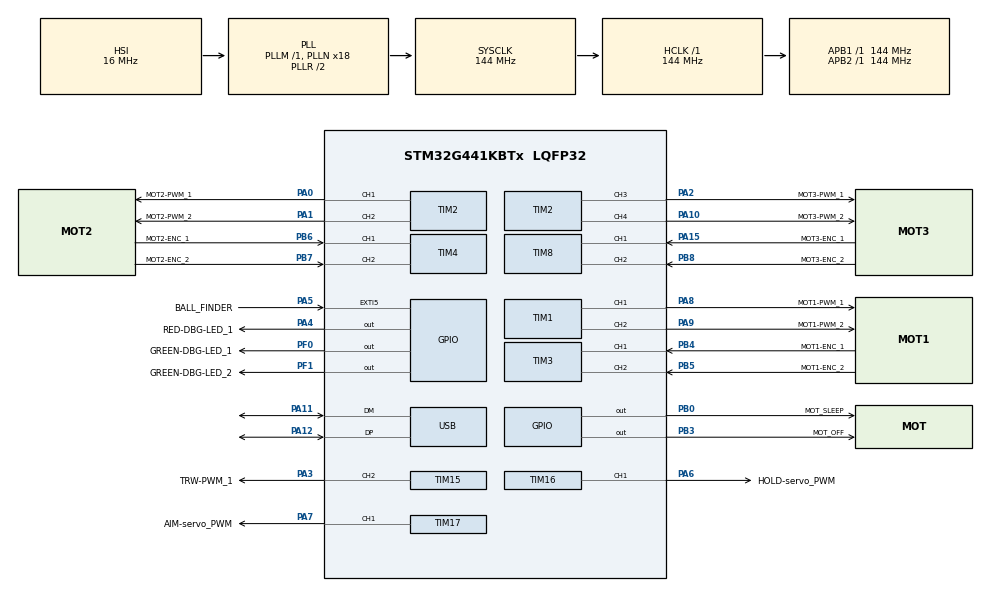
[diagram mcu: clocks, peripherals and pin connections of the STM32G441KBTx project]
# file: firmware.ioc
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ADC1.Channel-0\#ChannelRegularConversion=ADC_CHANNEL_TEMPSENSOR_ADC1
ADC1.NbrOfConversionFlag=1
ADC1.OffsetNumber-0\#ChannelRegularConversion=ADC_OFFSET_NONE
ADC1.Rank-0\#ChannelRegularConversion=1
ADC1.SamplingTime-0\#ChannelRegularConversion=ADC_SAMPLETIME_2CYCLES_5
ADC1.master=1
Dma.ADC1.0.Direction=DMA_PERIPH_TO_MEMORY
Dma.ADC1.0.EventEnable=DISABLE
Dma.ADC1.0.Instance=DMA1_Channel1
Dma.ADC1.0.MemDataAlignment=DMA_MDATAALIGN_BYTE
Dma.ADC1.0.MemInc=DMA_MINC_ENABLE
Dma.ADC1.0.Mode=DMA_CIRCULAR
Dma.ADC1.0.PeriphDataAlignment=DMA_PDATAALIGN_HALFWORD
Dma.ADC1.0.PeriphInc=DMA_PINC_DISABLE
Dma.ADC1.0.Polarity=HAL_DMAMUX_REQ_GEN_RISING
Dma.ADC1.0.Priority=DMA_PRIORITY_VERY_HIGH
Dma.ADC1.0.RequestNumber=1
Dma.ADC1.0.SignalID=NONE
Dma.ADC1.0.SyncEnable=DISABLE
Dma.ADC1.0.SyncPolarity=HAL_DMAMUX_SYNC_NO_EVENT
Dma.ADC1.0.SyncRequestNumber=1
Dma.ADC1.0.SyncSignalID=NONE
Dma.Request0=ADC1
Mcu.Family=STM32G4
Mcu.Name=STM32G441KBTx
Mcu.Package=LQFP32
NVIC.DMA1_Channel1_IRQn=true\:0\:0\:false\:false\:true\:false\:true
NVIC.EXTI9_5_IRQn=true\:0\:0\:false\:false\:true\:true\:true
NVIC.PriorityGroup=NVIC_PRIORITYGROUP_4
NVIC.TIM6_DAC_IRQn=true\:0\:0\:false\:false\:true\:true\:true
NVIC.USB_LP_IRQn=true\:0\:0\:false\:false\:true\:false\:true
PA0.GPIO_Label=MOT2-PWM_1
PA0.Signal=S_TIM2_CH1
PA1.GPIO_Label=MOT2-PWM_2
PA1.Signal=S_TIM2_CH2
PA10.GPIO_Label=MOT3-PWM_2
PA10.Signal=S_TIM2_CH4
PA11.Mode=Device
PA11.Signal=USB_DM
PA12.Mode=Device
PA12.Signal=USB_DP
PA13.Mode=Serial_Wire
PA13.Signal=SYS_JTMS-SWDIO
PA14.Mode=Serial_Wire
PA14.Signal=SYS_JTCK-SWCLK
PA15.GPIO_Label=MOT3-ENC_1
PA15.Signal=S_TIM8_CH1
PA2.GPIO_Label=MOT3-PWM_1
PA2.Signal=S_TIM2_CH3
PA3.GPIO_Label=TRW-PWM_1
PA3.Signal=S_TIM15_CH2
PA4.GPIO_Label=RED-DBG-LED_1
PA4.Signal=GPIO_Output
PA5.GPIO_Label=BALL_FINDER
PA5.Signal=GPXTI5
PA6.GPIO_Label=HOLD-servo_PWM
PA6.Signal=S_TIM16_CH1
PA7.GPIO_Label=AIM-servo_PWM
PA7.Signal=S_TIM17_CH1
PA8.GPIO_Label=MOT1-PWM_1
PA8.Signal=S_TIM1_CH1
PA9.GPIO_Label=MOT1-PWM_2
PA9.Signal=S_TIM1_CH2
PB0.GPIO_Label=MOT_SLEEP
PB0.Signal=GPIO_Output
PB3.GPIO_Label=MOT_OFF
PB3.Signal=GPIO_Output
PB4.GPIO_Label=MOT1-ENC_1
PB4.Signal=S_TIM3_CH1
PB5.GPIO_Label=MOT1-ENC_2
PB5.Signal=S_TIM3_CH2
PB6.GPIO_Label=MOT2-ENC_1
PB6.Signal=S_TIM4_CH1
PB7.GPIO_Label=MOT2-ENC_2
PB7.Signal=S_TIM4_CH2
PB8-BOOT0.GPIO_Label=MOT3-ENC_2
PB8-BOOT0.Signal=S_TIM8_CH2
PF0-OSC_IN.GPIO_Label=GREEN-DBG-LED_1
PF0-OSC_IN.Signal=GPIO_Output
PF1-OSC_OUT.GPIO_Label=GREEN-DBG-LED_2
PF1-OSC_OUT.Signal=GPIO_Output
ProjectManager.HeapSize=0x200
ProjectManager.StackSize=0x400
ProjectManager.TargetToolchain=STM32CubeIDE
RCC.ADC12Freq_Value=144000000
RCC.AHBFreq_Value=144000000
RCC.APB1Freq_Value=144000000
RCC.APB1TimFreq_Value=144000000
RCC.APB2Freq_Value=144000000
RCC.APB2TimFreq_Value=144000000
RCC.CortexFreq_Value=144000000
RCC.EXTERNAL_CLOCK_VALUE=12288000
RCC.HCLKFreq_Value=144000000
RCC.HSE_VALUE=8000000
RCC.HSI48_VALUE=48000000
RCC.HSI_VALUE=16000000
RCC.LSE_VALUE=32768
RCC.PLLN=18
RCC.PLLQ=RCC_PLLQ_DIV6
RCC.SYSCLKFreq_VALUE=144000000
RCC.SYSCLKSource=RCC_SYSCLKSOURCE_PLLCLK
RCC.USBFreq_Value=48000000
RCC.VCOOutputFreq_Value=288000000
SH.S_TIM15_CH2.0=TIM15_CH2,PWM Generation2 CH2
SH.S_TIM16_CH1.0=TIM16_CH1,PWM Generation1 CH1
SH.S_TIM17_CH1.0=TIM17_CH1,PWM Generation1 CH1
SH.S_TIM1_CH1.0=TIM1_CH1,PWM Generation1 CH1
SH.S_TIM1_CH2.0=TIM1_CH2,PWM Generation2 CH2
SH.S_TIM2_CH1.0=TIM2_CH1,PWM Generation1 CH1
SH.S_TIM2_CH2.0=TIM2_CH2,PWM Generation2 CH2
SH.S_TIM2_CH3.0=TIM2_CH3,PWM Generation3 CH3
SH.S_TIM2_CH4.0=TIM2_CH4,PWM Generation4 CH4
SH.S_TIM3_CH1.0=TIM3_CH1,Encoder_Interface
SH.S_TIM3_CH2.0=TIM3_CH2,Encoder_Interface
SH.S_TIM4_CH1.0=TIM4_CH1,Encoder_Interface
SH.S_TIM4_CH2.0=TIM4_CH2,Encoder_Interface
SH.S_TIM8_CH1.0=TIM8_CH1,Encoder_Interface
SH.S_TIM8_CH2.0=TIM8_CH2,Encoder_Interface
TIM1.Channel-PWM\ Generation1\ CH1=TIM_CHANNEL_1
TIM1.Channel-PWM\ Generation2\ CH2=TIM_CHANNEL_2
TIM15.Channel-PWM\ Generation2\ CH2=TIM_CHANNEL_2
TIM15.Prescaler=45
TIM16.Channel=TIM_CHANNEL_1
TIM16.Prescaler=45
TIM17.Channel=TIM_CHANNEL_1
TIM17.Prescaler=45
TIM2.Channel-PWM\ Generation1\ CH1=TIM_CHANNEL_1
TIM2.Channel-PWM\ Generation2\ CH2=TIM_CHANNEL_2
TIM2.Channel-PWM\ Generation3\ CH3=TIM_CHANNEL_3
TIM2.Channel-PWM\ Generation4\ CH4=TIM_CHANNEL_4
TIM6.Prescaler=20
TIM6.TIM_MasterOutputTrigger=TIM_TRGO_UPDATE
USB_DEVICE.CLASS_NAME_FS=CDC
USB_DEVICE.VirtualMode=Cdc
USB_DEVICE.VirtualModeFS=Cdc_FS
VP_ADC1_TempSens_Input.Mode=IN-TempSens
VP_ADC1_Vref_Input.Mode=IN-Vrefint
VP_CRC_VS_CRC.Mode=CRC_Activate
VP_RTC_VS_RTC_Activate.Mode=RTC_Enabled
VP_SYS_VS_DBSignals.Mode=DisableDeadBatterySignals
VP_TIM16_VS_ClockSourceINT.Mode=Enable_Timer
VP_TIM17_VS_ClockSourceINT.Mode=Enable_Timer
VP_TIM1_VS_ClockSourceINT.Mode=Internal
VP_TIM2_VS_ClockSourceINT.Mode=Internal
VP_TIM6_VS_ClockSourceINT.Mode=Enable_Timer
VP_USB_DEVICE_VS_USB_DEVICE_CDC_FS.Mode=CDC_FS
board=custom

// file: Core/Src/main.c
/* USER CODE BEGIN Header */
/**
  ******************************************************************************
  * @file           : main.c
  * @brief          : Main program body
  ******************************************************************************
  * @attention
  *
  * <h2><center>&copy; Copyright (c) 2021 STMicroelectronics.
  * All rights reserved.</center></h2>
  *
  * This software component is licensed by ST under BSD 3-Clause license,
  * the "License"; You may not use this file except in compliance with the
  * License. You may obtain a copy of the License at:
  *                        opensource.org/licenses/BSD-3-Clause
  *
  *
  ******************************************************************************
  */
/* USER CODE END Header */
#include "main.h"
#include "usb_device.h"

/* USER CODE BEGIN Includes */
#include "usbd_cdc_if.h"
/* USER CODE END Includes */

ADC_HandleTypeDef hadc1;
DMA_HandleTypeDef hdma_adc1;

CRC_HandleTypeDef hcrc;

RTC_HandleTypeDef hrtc;

TIM_HandleTypeDef htim1;
TIM_HandleTypeDef htim2;
TIM_HandleTypeDef htim3;
TIM_HandleTypeDef htim4;
TIM_HandleTypeDef htim6;
TIM_HandleTypeDef htim8;
TIM_HandleTypeDef htim15;
TIM_HandleTypeDef htim16;
TIM_HandleTypeDef htim17;

void SystemClock_Config(void);
static void MX_GPIO_Init(void);
static void MX_TIM1_Init(void);
static void MX_RTC_Init(void);
static void MX_TIM2_Init(void);
static void MX_TIM3_Init(void);
static void MX_TIM8_Init(void);
static void MX_TIM17_Init(void);
static void MX_TIM16_Init(void);
static void MX_TIM4_Init(void);
static void MX_TIM15_Init(void);
static void MX_DMA_Init(void);
static void MX_ADC1_Init(void);
static void MX_CRC_Init(void);
static void MX_TIM6_Init(void);

/* USER CODE BEGIN 0 */

/**
 * Motor status struct
 */
typedef struct {
  float target_speed;  ///< Current motor target speed
  uint8_t forward;        ///< 0 means backwards, 1 is forwards
  float integral;       ///< Integral value for PID
  int16_t pos;            ///< Current encoder position
  float flat_const;       ///< PID constant for current error
  float int_const;        ///< PID constant for integral
  float deriv_const;      ///< PID constant for derivative
} mot_status_t;

/**
 * List of possible errors that are sent to master
 */
typedef enum {
  MCU_OK,                 ///< Everythings good
  MCU_USB_BAD_DATA,       ///< Got bad data from USB, eg. CRC mismatch
  MCU_SPEED_TOO_HIGH      ///< Got too high speed from master
} mcu_errors_t;

/**
 * Incoming command struct
 */
typedef struct {
  int16_t speeds[3];      ///< Incoming target speed array
  uint16_t thrower_speed; ///< Incoming thrower target speed
  uint16_t aim_pwm;       ///< Aim servo PWM value
  uint16_t hold_pwm;      ///< Hold servo PWM value
  uint16_t command;       ///< Other commands eg. 3 LSB direct motors
  uint16_t crc;           ///< CRC for error detection
} ser_command_t;

/**
 * Serial feedback struct
 */
typedef struct {
  mcu_errors_t error;     ///< If and what error has occured
  int32_t enc_data[3];    ///< Encoder data
  uint16_t varia;         ///< Other variable data eh. ball was detected
  uint16_t crc;           ///< CRC for error detection
} ser_feedback_t;

ser_command_t cmd_in = {0};
mot_status_t motor_status[3] = {0};
__IO uint8_t is_command_received = 0;
mcu_errors_t mcu_error;
uint8_t feedback_needed = 0;
ser_feedback_t ser_feedback = {0};

/**
 * Mapping function to get a value from one range to other
 */
uint16_t map(float input, int32_t f_l, int32_t f_h, int32_t t_l, int32_t t_h) {
  return ((input - f_l) * (t_h - t_l)) / ((f_h - f_l) + t_l);
}

float f_map(uint16_t input, int32_t f_l, int32_t f_h, int32_t t_l, int32_t t_h) {
  return (float) ((float) (input - f_l) * (t_h - t_l)) / ((f_h - f_l) + t_l);
}

/**
 * Function that gets called when new USB data arrives
 *
 * Updates cmd_in structure and so updates target speeds
 */
void CDC_On_Receive(uint8_t* buffer, uint32_t* length) {
  is_command_received = 1;
  mcu_error = MCU_USB_BAD_DATA;
  if (*length == sizeof(ser_command_t)) {
	  ser_command_t ser_data;
	  memcpy(&ser_data, buffer, sizeof(ser_command_t));
	  uint16_t got_crc = ser_data.crc;
	  ser_data.crc = 0;
	  uint16_t calculated_crc = HAL_CRC_Calculate(&hcrc, (uint32_t *) &ser_data, (*length));
    if(got_crc == calculated_crc) {
    	memcpy(&cmd_in, buffer, sizeof(ser_command_t));
    	cmd_in.thrower_speed = map(cmd_in.thrower_speed, 0, 65535, 3120, 6240);
    	mcu_error = MCU_OK;
    }
  }
}

/**
 * Fills feedback struct to be sent to master
 */
void generate_feedback() {
  ser_feedback.error = mcu_error;
  ser_feedback.enc_data[0] = motor_status[0].pos;
  ser_feedback.enc_data[1] = motor_status[1].pos;
  ser_feedback.enc_data[2] = motor_status[2].pos;
  ser_feedback.crc = 0;
  ser_feedback.crc = HAL_CRC_Calculate(&hcrc, (uint32_t *) &ser_feedback, sizeof(ser_feedback_t));
}

/**
 * Initialises HAL TIM PWM and
 * sets their max limits to 0xFFFF* to make sure it will not get counted to 0xFFFFFFFF
 */
void init_pwm() {
  TIM1->ARR = 0xFFFF;
  TIM2->ARR = 0xFFFF;

  // Motor 1
  HAL_TIM_PWM_Start(&htim1, TIM_CHANNEL_1);
  HAL_TIM_PWM_Start(&htim1, TIM_CHANNEL_2);

  // Motor 2
  HAL_TIM_PWM_Start(&htim2, TIM_CHANNEL_1);
  HAL_TIM_PWM_Start(&htim2, TIM_CHANNEL_2);

  // Motor 3
  HAL_TIM_PWM_Start(&htim2, TIM_CHANNEL_3);
  HAL_TIM_PWM_Start(&htim2, TIM_CHANNEL_4);

  // Thrower
  HAL_TIM_PWM_Start(&htim15, TIM_CHANNEL_2);

  // Hold servo
  HAL_TIM_PWM_Start(&htim16, TIM_CHANNEL_1);

  // Aim servo
  HAL_TIM_PWM_Start(&htim17, TIM_CHANNEL_1);
}

/**
 * Function for manually setting PID constants for each motor
 */
void set_pid_constants() {
	motor_status[0].flat_const = 5;
	motor_status[0].int_const = 0.1;
	motor_status[0].deriv_const = 0;

	motor_status[1].flat_const = 5;
	motor_status[1].int_const = 0.1;
	motor_status[1].deriv_const = 0;

	motor_status[2].flat_const = 5;
	motor_status[2].int_const = 0.1;
	motor_status[2].deriv_const = 0;
}

/**
 * Wakes drivers up by sending an nSleep pulse
 */
void wake_drivers_up() {
    HAL_GPIO_WritePin(GPIOB, MOT_SLEEP_Pin, GPIO_PIN_RESET);
    for(uint16_t i = 0; i < 350; i++) __asm("nop");
	HAL_GPIO_WritePin(GPIOB, MOT_SLEEP_Pin, GPIO_PIN_SET);
	for(uint16_t i = 0; i < 10; i++) __asm("nop");
}

/**
 * Starts TIM encoders
 */
void start_encoders() {
  HAL_TIM_Encoder_Start(&htim3, TIM_CHANNEL_1 | TIM_CHANNEL_2);
  HAL_TIM_Encoder_Start(&htim4, TIM_CHANNEL_1 | TIM_CHANNEL_2);
  HAL_TIM_Encoder_Start(&htim8, TIM_CHANNEL_1 | TIM_CHANNEL_2);
}

void arm_thrower() {
	TIM15->CCR2 = 3120;
	HAL_Delay(500);
	TIM15->CCR2 = 2000;
	HAL_Delay(1500);
	TIM15->CCR2 = 3120;
}

/**
 * Called when new command arrives from master
 *
 * Reads the command byte and updates target speed
 */
void update_motor_status() {
  for(uint8_t i = 0; i < 3; i++) {
	if(cmd_in.command & (1 << i))
	  motor_status[i].forward = 1;
	else
	  motor_status[i].forward = 0;
	motor_status[i].target_speed = f_map(cmd_in.speeds[i], 0, 65535, 0, 106);
  }
  if(cmd_in.command & (1 << 4)) {
	arm_thrower();
	wake_drivers_up();
  }
  TIM15->CCR2 = cmd_in.thrower_speed + 3120;
  TIM16->CCR1 = cmd_in.hold_pwm;
  TIM17->CCR1 = cmd_in.aim_pwm;
}

/**
 * Calculates PWM speed that will be sent to the motors
 * Takes motor id as input through which it can calculate error and get needed data
 *
 * Returns a value between 0 and 2^16 - 1
 */
int16_t calc_pwm(uint8_t mot_id) {
  int16_t change;
  float pid_speed, error;

  // Calculate change and update corresponding motor position
  switch(mot_id) {
    case(0):
	  change = TIM3->CNT - motor_status[0].pos;
      motor_status[0].pos = TIM3->CNT;
      break;
    case(1):
      change = TIM4->CNT - motor_status[1].pos;
      motor_status[1].pos = TIM4->CNT;
      break;
    case(2):
      change = TIM8->CNT - motor_status[2].pos;
      motor_status[2].pos = TIM8->CNT;
  }
  if(change < 0)
	change *= -1;
  if(change > 106)
	change = 106;

  // Calculate error and PID
  error = motor_status[mot_id].target_speed - change;
  motor_status[mot_id].integral += error;
  pid_speed = error * motor_status[mot_id].flat_const +
		  motor_status[mot_id].integral * motor_status[mot_id].int_const;

  // Keep the motor speed within limits
  if(pid_speed > 106)
	pid_speed = 106;
  else if(pid_speed < 0)
	pid_speed = 0;

  // Map the encoder speed to PWM speed and return it
  return map(pid_speed, 0, 106, 0, 65535);
}

/**
 * Function that gets called periodically by timer interrupt
 *
 * Used for calculating and correcting PWM values for each motor
 */
void HAL_TIM_PeriodElapsedCallback(TIM_HandleTypeDef *htim) {

  HAL_GPIO_TogglePin(GPIOF, GREEN_DBG_LED_1_Pin);
  TIM1->CCR1 = calc_pwm(0);
  TIM2->CCR1 = calc_pwm(1);
  TIM2->CCR3 = calc_pwm(2);

  if(!motor_status[0].forward) {
	TIM1->CCR2 = 0;
  } else {
	TIM1->CCR2 = 65535;
	  }
  if(!motor_status[1].forward) {
	TIM2->CCR2 = 0;
  } else {
	TIM2->CCR2 = 65535;
  }
  if(!motor_status[2].forward) {
	TIM2->CCR4 = 0;
  } else {
	TIM2->CCR4 = 65535;
  }
}

/*
 * EXTI callback for ball detector
 */
void HAL_GPIO_EXTI_Callback(uint16_t GPIO_Pin) {
  if(GPIO_Pin == GPIO_PIN_5) {
	HAL_GPIO_TogglePin(RED_DBG_LED_1_GPIO_Port, RED_DBG_LED_1_Pin);
	ser_feedback.varia = 0xFFFF;
	feedback_needed = 1;
  }
}

/* USER CODE END 0 */

int main(void)
{

  /* MCU Configuration--------------------------------------------------------*/

  /* Reset of all peripherals, Initializes the Flash interface and the Systick. */
  HAL_Init();

  /* Configure the system clock */
  SystemClock_Config();

  /* Initialize all configured peripherals */
  MX_GPIO_Init();
  MX_TIM1_Init();
  MX_RTC_Init();
  MX_TIM2_Init();
  MX_TIM3_Init();
  MX_TIM8_Init();
  MX_TIM17_Init();
  MX_TIM16_Init();
  MX_TIM4_Init();
  MX_TIM15_Init();
  MX_USB_Device_Init();
  MX_DMA_Init();
  MX_ADC1_Init();
  MX_CRC_Init();
  MX_TIM6_Init();
  /* USER CODE BEGIN 2 */
  HAL_TIM_Base_Start_IT(&htim6);
  HAL_GPIO_WritePin(GPIOB, MOT_SLEEP_Pin, GPIO_PIN_SET);
  set_pid_constants();
  HAL_Delay(100);
  start_encoders();
  wake_drivers_up();
  init_pwm();
  TIM15->CCR2 = 3120;

  /* USER CODE END 2 */

  /* Infinite loop */
  /* USER CODE BEGIN WHILE */
  while (1) {
	if(is_command_received) {
	  is_command_received = 0;
	  if(!mcu_error) {
		HAL_GPIO_TogglePin(GPIOF, GREEN_DBG_LED_2_Pin);
		update_motor_status();
	  }
	  feedback_needed = 1;
	}
	if(feedback_needed) {
      generate_feedback();
	  CDC_Transmit_FS((uint8_t*) &ser_feedback, sizeof(ser_feedback_t));
	  feedback_needed = 0;
	  ser_feedback.varia = 0;
	}
    /* USER CODE END WHILE */

  }
}

void SystemClock_Config(void)
{
  RCC_OscInitTypeDef RCC_OscInitStruct = {0};
  RCC_ClkInitTypeDef RCC_ClkInitStruct = {0};

  /** Configure the main internal regulator output voltage
  */
  HAL_PWREx_ControlVoltageScaling(PWR_REGULATOR_VOLTAGE_SCALE1);
  /** Initializes the RCC Oscillators according to the specified parameters
  * in the RCC_OscInitTypeDef structure.
  */
  RCC_OscInitStruct.OscillatorType = RCC_OSCILLATORTYPE_HSI|RCC_OSCILLATORTYPE_LSI;
  RCC_OscInitStruct.HSIState = RCC_HSI_ON;
  RCC_OscInitStruct.HSICalibrationValue = RCC_HSICALIBRATION_DEFAULT;
  RCC_OscInitStruct.LSIState = RCC_LSI_ON;
  RCC_OscInitStruct.PLL.PLLState = RCC_PLL_ON;
  RCC_OscInitStruct.PLL.PLLSource = RCC_PLLSOURCE_HSI;
  RCC_OscInitStruct.PLL.PLLM = RCC_PLLM_DIV1;
  RCC_OscInitStruct.PLL.PLLN = 18;
  RCC_OscInitStruct.PLL.PLLP = RCC_PLLP_DIV2;
  RCC_OscInitStruct.PLL.PLLQ = RCC_PLLQ_DIV6;
  RCC_OscInitStruct.PLL.PLLR = RCC_PLLR_DIV2;
  if (HAL_RCC_OscConfig(&RCC_OscInitStruct) != HAL_OK)
  {
    Error_Handler();
  }
  /** Initializes the CPU, AHB and APB buses clocks
  */
  RCC_ClkInitStruct.ClockType = RCC_CLOCKTYPE_HCLK|RCC_CLOCKTYPE_SYSCLK
                              |RCC_CLOCKTYPE_PCLK1|RCC_CLOCKTYPE_PCLK2;
  RCC_ClkInitStruct.SYSCLKSource = RCC_SYSCLKSOURCE_PLLCLK;
  RCC_ClkInitStruct.AHBCLKDivider = RCC_SYSCLK_DIV1;
  RCC_ClkInitStruct.APB1CLKDivider = RCC_HCLK_DIV1;
  RCC_ClkInitStruct.APB2CLKDivider = RCC_HCLK_DIV1;

  if (HAL_RCC_ClockConfig(&RCC_ClkInitStruct, FLASH_LATENCY_4) != HAL_OK)
  {
    Error_Handler();
  }
}

static void MX_ADC1_Init(void)
{

  ADC_MultiModeTypeDef multimode = {0};
  ADC_ChannelConfTypeDef sConfig = {0};

  /** Common config
  */
  hadc1.Instance = ADC1;
  hadc1.Init.ClockPrescaler = ADC_CLOCK_SYNC_PCLK_DIV4;
  hadc1.Init.Resolution = ADC_RESOLUTION_12B;
  hadc1.Init.DataAlign = ADC_DATAALIGN_RIGHT;
  hadc1.Init.GainCompensation = 0;
  hadc1.Init.ScanConvMode = ADC_SCAN_DISABLE;
  hadc1.Init.EOCSelection = ADC_EOC_SINGLE_CONV;
  hadc1.Init.LowPowerAutoWait = DISABLE;
  hadc1.Init.ContinuousConvMode = DISABLE;
  hadc1.Init.NbrOfConversion = 1;
  hadc1.Init.DiscontinuousConvMode = DISABLE;
  hadc1.Init.ExternalTrigConv = ADC_SOFTWARE_START;
  hadc1.Init.ExternalTrigConvEdge = ADC_EXTERNALTRIGCONVEDGE_NONE;
  hadc1.Init.DMAContinuousRequests = DISABLE;
  hadc1.Init.Overrun = ADC_OVR_DATA_PRESERVED;
  hadc1.Init.OversamplingMode = DISABLE;
  if (HAL_ADC_Init(&hadc1) != HAL_OK)
  {
    Error_Handler();
  }
  /** Configure the ADC multi-mode
  */
  multimode.Mode = ADC_MODE_INDEPENDENT;
  if (HAL_ADCEx_MultiModeConfigChannel(&hadc1, &multimode) != HAL_OK)
  {
    Error_Handler();
  }
  /** Configure Regular Channel
  */
  sConfig.Channel = ADC_CHANNEL_TEMPSENSOR_ADC1;
  sConfig.Rank = ADC_REGULAR_RANK_1;
  sConfig.SamplingTime = ADC_SAMPLETIME_2CYCLES_5;
  sConfig.SingleDiff = ADC_SINGLE_ENDED;
  sConfig.OffsetNumber = ADC_OFFSET_NONE;
  sConfig.Offset = 0;
  if (HAL_ADC_ConfigChannel(&hadc1, &sConfig) != HAL_OK)
  {
    Error_Handler();
  }

}

static void MX_CRC_Init(void)
{

  hcrc.Instance = CRC;
  hcrc.Init.DefaultPolynomialUse = DEFAULT_POLYNOMIAL_ENABLE;
  hcrc.Init.DefaultInitValueUse = DEFAULT_INIT_VALUE_ENABLE;
  hcrc.Init.InputDataInversionMode = CRC_INPUTDATA_INVERSION_NONE;
  hcrc.Init.OutputDataInversionMode = CRC_OUTPUTDATA_INVERSION_DISABLE;
  hcrc.InputDataFormat = CRC_INPUTDATA_FORMAT_BYTES;
  if (HAL_CRC_Init(&hcrc) != HAL_OK)
  {
    Error_Handler();
  }

}

static void MX_RTC_Init(void)
{

  /** Initialize RTC Only
  */
  hrtc.Instance = RTC;
  hrtc.Init.HourFormat = RTC_HOURFORMAT_24;
  hrtc.Init.AsynchPrediv = 127;
  hrtc.Init.SynchPrediv = 255;
  hrtc.Init.OutPut = RTC_OUTPUT_DISABLE;
  hrtc.Init.OutPutRemap = RTC_OUTPUT_REMAP_NONE;
  hrtc.Init.OutPutPolarity = RTC_OUTPUT_POLARITY_HIGH;
  hrtc.Init.OutPutType = RTC_OUTPUT_TYPE_OPENDRAIN;
  hrtc.Init.OutPutPullUp = RTC_OUTPUT_PULLUP_NONE;
  if (HAL_RTC_Init(&hrtc) != HAL_OK)
  {
    Error_Handler();
  }

}

static void MX_TIM1_Init(void)
{

  TIM_ClockConfigTypeDef sClockSourceConfig = {0};
  TIM_MasterConfigTypeDef sMasterConfig = {0};
  TIM_OC_InitTypeDef sConfigOC = {0};
  TIM_BreakDeadTimeConfigTypeDef sBreakDeadTimeConfig = {0};

  htim1.Instance = TIM1;
  htim1.Init.Prescaler = 0;
  htim1.Init.CounterMode = TIM_COUNTERMODE_UP;
  htim1.Init.Period = 65535;
  htim1.Init.ClockDivision = TIM_CLOCKDIVISION_DIV1;
  htim1.Init.RepetitionCounter = 0;
  htim1.Init.AutoReloadPreload = TIM_AUTORELOAD_PRELOAD_DISABLE;
  if (HAL_TIM_Base_Init(&htim1) != HAL_OK)
  {
    Error_Handler();
  }
  sClockSourceConfig.ClockSource = TIM_CLOCKSOURCE_INTERNAL;
  if (HAL_TIM_ConfigClockSource(&htim1, &sClockSourceConfig) != HAL_OK)
  {
    Error_Handler();
  }
  if (HAL_TIM_PWM_Init(&htim1) != HAL_OK)
  {
    Error_Handler();
  }
  sMasterConfig.MasterOutputTrigger = TIM_TRGO_RESET;
  sMasterConfig.MasterOutputTrigger2 = TIM_TRGO2_RESET;
  sMasterConfig.MasterSlaveMode = TIM_MASTERSLAVEMODE_DISABLE;
  if (HAL_TIMEx_MasterConfigSynchronization(&htim1, &sMasterConfig) != HAL_OK)
  {
    Error_Handler();
  }
  sConfigOC.OCMode = TIM_OCMODE_PWM1;
  sConfigOC.Pulse = 0;
  sConfigOC.OCPolarity = TIM_OCPOLARITY_HIGH;
  sConfigOC.OCNPolarity = TIM_OCNPOLARITY_HIGH;
  sConfigOC.OCFastMode = TIM_OCFAST_DISABLE;
  sConfigOC.OCIdleState = TIM_OCIDLESTATE_RESET;
  sConfigOC.OCNIdleState = TIM_OCNIDLESTATE_RESET;
  if (HAL_TIM_PWM_ConfigChannel(&htim1, &sConfigOC, TIM_CHANNEL_1) != HAL_OK)
  {
    Error_Handler();
  }
  if (HAL_TIM_PWM_ConfigChannel(&htim1, &sConfigOC, TIM_CHANNEL_2) != HAL_OK)
  {
    Error_Handler();
  }
  sBreakDeadTimeConfig.OffStateRunMode = TIM_OSSR_DISABLE;
  sBreakDeadTimeConfig.OffStateIDLEMode = TIM_OSSI_DISABLE;
  sBreakDeadTimeConfig.LockLevel = TIM_LOCKLEVEL_OFF;
  sBreakDeadTimeConfig.DeadTime = 0;
  sBreakDeadTimeConfig.BreakState = TIM_BREAK_DISABLE;
  sBreakDeadTimeConfig.BreakPolarity = TIM_BREAKPOLARITY_HIGH;
  sBreakDeadTimeConfig.BreakFilter = 0;
  sBreakDeadTimeConfig.BreakAFMode = TIM_BREAK_AFMODE_INPUT;
  sBreakDeadTimeConfig.Break2State = TIM_BREAK2_DISABLE;
  sBreakDeadTimeConfig.Break2Polarity = TIM_BREAK2POLARITY_HIGH;
  sBreakDeadTimeConfig.Break2Filter = 0;
  sBreakDeadTimeConfig.Break2AFMode = TIM_BREAK_AFMODE_INPUT;
  sBreakDeadTimeConfig.AutomaticOutput = TIM_AUTOMATICOUTPUT_DISABLE;
  if (HAL_TIMEx_ConfigBreakDeadTime(&htim1, &sBreakDeadTimeConfig) != HAL_OK)
  {
    Error_Handler();
  }
  HAL_TIM_MspPostInit(&htim1);

}

static void MX_TIM2_Init(void)
{

  TIM_ClockConfigTypeDef sClockSourceConfig = {0};
  TIM_MasterConfigTypeDef sMasterConfig = {0};
  TIM_OC_InitTypeDef sConfigOC = {0};

  htim2.Instance = TIM2;
  htim2.Init.Prescaler = 0;
  htim2.Init.CounterMode = TIM_COUNTERMODE_UP;
  htim2.Init.Period = 4.294967295E9;
  htim2.Init.ClockDivision = TIM_CLOCKDIVISION_DIV1;
  htim2.Init.AutoReloadPreload = TIM_AUTORELOAD_PRELOAD_DISABLE;
  if (HAL_TIM_Base_Init(&htim2) != HAL_OK)
  {
    Error_Handler();
  }
  sClockSourceConfig.ClockSource = TIM_CLOCKSOURCE_INTERNAL;
  if (HAL_TIM_ConfigClockSource(&htim2, &sClockSourceConfig) != HAL_OK)
  {
    Error_Handler();
  }
  if (HAL_TIM_PWM_Init(&htim2) != HAL_OK)
  {
    Error_Handler();
  }
  sMasterConfig.MasterOutputTrigger = TIM_TRGO_RESET;
  sMasterConfig.MasterSlaveMode = TIM_MASTERSLAVEMODE_DISABLE;
  if (HAL_TIMEx_MasterConfigSynchronization(&htim2, &sMasterConfig) != HAL_OK)
  {
    Error_Handler();
  }
  sConfigOC.OCMode = TIM_OCMODE_PWM1;
  sConfigOC.Pulse = 0;
  sConfigOC.OCPolarity = TIM_OCPOLARITY_HIGH;
  sConfigOC.OCFastMode = TIM_OCFAST_DISABLE;
  if (HAL_TIM_PWM_ConfigChannel(&htim2, &sConfigOC, TIM_CHANNEL_1) != HAL_OK)
  {
    Error_Handler();
  }
  if (HAL_TIM_PWM_ConfigChannel(&htim2, &sConfigOC, TIM_CHANNEL_2) != HAL_OK)
  {
    Error_Handler();
  }
  if (HAL_TIM_PWM_ConfigChannel(&htim2, &sConfigOC, TIM_CHANNEL_3) != HAL_OK)
  {
    Error_Handler();
  }
  if (HAL_TIM_PWM_ConfigChannel(&htim2, &sConfigOC, TIM_CHANNEL_4) != HAL_OK)
  {
    Error_Handler();
  }
  HAL_TIM_MspPostInit(&htim2);

}

static void MX_TIM3_Init(void)
{

  TIM_Encoder_InitTypeDef sConfig = {0};
  TIM_MasterConfigTypeDef sMasterConfig = {0};

  htim3.Instance = TIM3;
  htim3.Init.Prescaler = 0;
  htim3.Init.CounterMode = TIM_COUNTERMODE_UP;
  htim3.Init.Period = 65535;
  htim3.Init.ClockDivision = TIM_CLOCKDIVISION_DIV1;
  htim3.Init.AutoReloadPreload = TIM_AUTORELOAD_PRELOAD_DISABLE;
  sConfig.EncoderMode = TIM_ENCODERMODE_TI1;
  sConfig.IC1Polarity = TIM_ICPOLARITY_RISING;
  sConfig.IC1Selection = TIM_ICSELECTION_DIRECTTI;
  sConfig.IC1Prescaler = TIM_ICPSC_DIV1;
  sConfig.IC1Filter = 0;
  sConfig.IC2Polarity = TIM_ICPOLARITY_RISING;
  sConfig.IC2Selection = TIM_ICSELECTION_DIRECTTI;
  sConfig.IC2Prescaler = TIM_ICPSC_DIV1;
  sConfig.IC2Filter = 0;
  if (HAL_TIM_Encoder_Init(&htim3, &sConfig) != HAL_OK)
  {
    Error_Handler();
  }
  sMasterConfig.MasterOutputTrigger = TIM_TRGO_RESET;
  sMasterConfig.MasterSlaveMode = TIM_MASTERSLAVEMODE_DISABLE;
  if (HAL_TIMEx_MasterConfigSynchronization(&htim3, &sMasterConfig) != HAL_OK)
  {
    Error_Handler();
  }

}

static void MX_TIM4_Init(void)
{

  TIM_Encoder_InitTypeDef sConfig = {0};
  TIM_MasterConfigTypeDef sMasterConfig = {0};

  htim4.Instance = TIM4;
  htim4.Init.Prescaler = 0;
  htim4.Init.CounterMode = TIM_COUNTERMODE_UP;
  htim4.Init.Period = 65535;
  htim4.Init.ClockDivision = TIM_CLOCKDIVISION_DIV1;
  htim4.Init.AutoReloadPreload = TIM_AUTORELOAD_PRELOAD_DISABLE;
  sConfig.EncoderMode = TIM_ENCODERMODE_TI1;
  sConfig.IC1Polarity = TIM_ICPOLARITY_RISING;
  sConfig.IC1Selection = TIM_ICSELECTION_DIRECTTI;
  sConfig.IC1Prescaler = TIM_ICPSC_DIV1;
  sConfig.IC1Filter = 0;
  sConfig.IC2Polarity = TIM_ICPOLARITY_RISING;
  sConfig.IC2Selection = TIM_ICSELECTION_DIRECTTI;
  sConfig.IC2Prescaler = TIM_ICPSC_DIV1;
  sConfig.IC2Filter = 0;
  if (HAL_TIM_Encoder_Init(&htim4, &sConfig) != HAL_OK)
  {
    Error_Handler();
  }
  sMasterConfig.MasterOutputTrigger = TIM_TRGO_RESET;
  sMasterConfig.MasterSlaveMode = TIM_MASTERSLAVEMODE_DISABLE;
  if (HAL_TIMEx_MasterConfigSynchronization(&htim4, &sMasterConfig) != HAL_OK)
  {
    Error_Handler();
  }

}

static void MX_TIM6_Init(void)
{

  TIM_MasterConfigTypeDef sMasterConfig = {0};

  htim6.Instance = TIM6;
  htim6.Init.Prescaler = 20;
  htim6.Init.CounterMode = TIM_COUNTERMODE_UP;
  htim6.Init.Period = 65535;
  htim6.Init.AutoReloadPreload = TIM_AUTORELOAD_PRELOAD_DISABLE;
  if (HAL_TIM_Base_Init(&htim6) != HAL_OK)
  {
    Error_Handler();
  }
  sMasterConfig.MasterOutputTrigger = TIM_TRGO_UPDATE;
  sMasterConfig.MasterSlaveMode = TIM_MASTERSLAVEMODE_DISABLE;
  if (HAL_TIMEx_MasterConfigSynchronization(&htim6, &sMasterConfig) != HAL_OK)
  {
    Error_Handler();
  }

}

static void MX_TIM8_Init(void)
{

  TIM_Encoder_InitTypeDef sConfig = {0};
  TIM_MasterConfigTypeDef sMasterConfig = {0};

  htim8.Instance = TIM8;
  htim8.Init.Prescaler = 0;
  htim8.Init.CounterMode = TIM_COUNTERMODE_UP;
  htim8.Init.Period = 65535;
  htim8.Init.ClockDivision = TIM_CLOCKDIVISION_DIV1;
  htim8.Init.RepetitionCounter = 0;
  htim8.Init.AutoReloadPreload = TIM_AUTORELOAD_PRELOAD_DISABLE;
  sConfig.EncoderMode = TIM_ENCODERMODE_TI1;
  sConfig.IC1Polarity = TIM_ICPOLARITY_RISING;
  sConfig.IC1Selection = TIM_ICSELECTION_DIRECTTI;
  sConfig.IC1Prescaler = TIM_ICPSC_DIV1;
  sConfig.IC1Filter = 0;
  sConfig.IC2Polarity = TIM_ICPOLARITY_RISING;
  sConfig.IC2Selection = TIM_ICSELECTION_DIRECTTI;
  sConfig.IC2Prescaler = TIM_ICPSC_DIV1;
  sConfig.IC2Filter = 0;
  if (HAL_TIM_Encoder_Init(&htim8, &sConfig) != HAL_OK)
  {
    Error_Handler();
  }
  sMasterConfig.MasterOutputTrigger = TIM_TRGO_RESET;
  sMasterConfig.MasterOutputTrigger2 = TIM_TRGO2_RESET;
  sMasterConfig.MasterSlaveMode = TIM_MASTERSLAVEMODE_DISABLE;
  if (HAL_TIMEx_MasterConfigSynchronization(&htim8, &sMasterConfig) != HAL_OK)
  {
    Error_Handler();
  }

}

static void MX_TIM15_Init(void)
{

  TIM_MasterConfigTypeDef sMasterConfig = {0};
  TIM_OC_InitTypeDef sConfigOC = {0};
  TIM_BreakDeadTimeConfigTypeDef sBreakDeadTimeConfig = {0};

  htim15.Instance = TIM15;
  htim15.Init.Prescaler = 45;
  htim15.Init.CounterMode = TIM_COUNTERMODE_UP;
  htim15.Init.Period = 65535;
  htim15.Init.ClockDivision = TIM_CLOCKDIVISION_DIV1;
  htim15.Init.RepetitionCounter = 0;
  htim15.Init.AutoReloadPreload = TIM_AUTORELOAD_PRELOAD_DISABLE;
  if (HAL_TIM_PWM_Init(&htim15) != HAL_OK)
  {
    Error_Handler();
  }
  sMasterConfig.MasterOutputTrigger = TIM_TRGO_RESET;
  sMasterConfig.MasterSlaveMode = TIM_MASTERSLAVEMODE_DISABLE;
  if (HAL_TIMEx_MasterConfigSynchronization(&htim15, &sMasterConfig) != HAL_OK)
  {
    Error_Handler();
  }
  sConfigOC.OCMode = TIM_OCMODE_PWM1;
  sConfigOC.Pulse = 0;
  sConfigOC.OCPolarity = TIM_OCPOLARITY_HIGH;
  sConfigOC.OCNPolarity = TIM_OCNPOLARITY_HIGH;
  sConfigOC.OCFastMode = TIM_OCFAST_DISABLE;
  sConfigOC.OCIdleState = TIM_OCIDLESTATE_RESET;
  sConfigOC.OCNIdleState = TIM_OCNIDLESTATE_RESET;
  if (HAL_TIM_PWM_ConfigChannel(&htim15, &sConfigOC, TIM_CHANNEL_2) != HAL_OK)
  {
    Error_Handler();
  }
  sBreakDeadTimeConfig.OffStateRunMode = TIM_OSSR_DISABLE;
  sBreakDeadTimeConfig.OffStateIDLEMode = TIM_OSSI_DISABLE;
  sBreakDeadTimeConfig.LockLevel = TIM_LOCKLEVEL_OFF;
  sBreakDeadTimeConfig.DeadTime = 0;
  sBreakDeadTimeConfig.BreakState = TIM_BREAK_DISABLE;
  sBreakDeadTimeConfig.BreakPolarity = TIM_BREAKPOLARITY_HIGH;
  sBreakDeadTimeConfig.BreakFilter = 0;
  sBreakDeadTimeConfig.AutomaticOutput = TIM_AUTOMATICOUTPUT_DISABLE;
  if (HAL_TIMEx_ConfigBreakDeadTime(&htim15, &sBreakDeadTimeConfig) != HAL_OK)
  {
    Error_Handler();
  }
  HAL_TIM_MspPostInit(&htim15);

}

static void MX_TIM16_Init(void)
{

  TIM_OC_InitTypeDef sConfigOC = {0};
  TIM_BreakDeadTimeConfigTypeDef sBreakDeadTimeConfig = {0};

  htim16.Instance = TIM16;
  htim16.Init.Prescaler = 45;
  htim16.Init.CounterMode = TIM_COUNTERMODE_UP;
  htim16.Init.Period = 65535;
  htim16.Init.ClockDivision = TIM_CLOCKDIVISION_DIV1;
  htim16.Init.RepetitionCounter = 0;
  htim16.Init.AutoReloadPreload = TIM_AUTORELOAD_PRELOAD_DISABLE;
  if (HAL_TIM_Base_Init(&htim16) != HAL_OK)
  {
    Error_Handler();
  }
  if (HAL_TIM_PWM_Init(&htim16) != HAL_OK)
  {
    Error_Handler();
  }
  sConfigOC.OCMode = TIM_OCMODE_PWM1;
  sConfigOC.Pulse = 0;
  sConfigOC.OCPolarity = TIM_OCPOLARITY_HIGH;
  sConfigOC.OCNPolarity = TIM_OCNPOLARITY_HIGH;
  sConfigOC.OCFastMode = TIM_OCFAST_DISABLE;
  sConfigOC.OCIdleState = TIM_OCIDLESTATE_RESET;
  sConfigOC.OCNIdleState = TIM_OCNIDLESTATE_RESET;
  if (HAL_TIM_PWM_ConfigChannel(&htim16, &sConfigOC, TIM_CHANNEL_1) != HAL_OK)
  {
    Error_Handler();
  }
  sBreakDeadTimeConfig.OffStateRunMode = TIM_OSSR_DISABLE;
  sBreakDeadTimeConfig.OffStateIDLEMode = TIM_OSSI_DISABLE;
  sBreakDeadTimeConfig.LockLevel = TIM_LOCKLEVEL_OFF;
  sBreakDeadTimeConfig.DeadTime = 0;
  sBreakDeadTimeConfig.BreakState = TIM_BREAK_DISABLE;
  sBreakDeadTimeConfig.BreakPolarity = TIM_BREAKPOLARITY_HIGH;
  sBreakDeadTimeConfig.BreakFilter = 0;
  sBreakDeadTimeConfig.AutomaticOutput = TIM_AUTOMATICOUTPUT_DISABLE;
  if (HAL_TIMEx_ConfigBreakDeadTime(&htim16, &sBreakDeadTimeConfig) != HAL_OK)
  {
    Error_Handler();
  }
  HAL_TIM_MspPostInit(&htim16);

}

static void MX_TIM17_Init(void)
{

  TIM_OC_InitTypeDef sConfigOC = {0};
  TIM_BreakDeadTimeConfigTypeDef sBreakDeadTimeConfig = {0};

  htim17.Instance = TIM17;
  htim17.Init.Prescaler = 45;
  htim17.Init.CounterMode = TIM_COUNTERMODE_UP;
  htim17.Init.Period = 65535;
  htim17.Init.ClockDivision = TIM_CLOCKDIVISION_DIV1;
  htim17.Init.RepetitionCounter = 0;
  htim17.Init.AutoReloadPreload = TIM_AUTORELOAD_PRELOAD_DISABLE;
  if (HAL_TIM_Base_Init(&htim17) != HAL_OK)
  {
    Error_Handler();
  }
  if (HAL_TIM_PWM_Init(&htim17) != HAL_OK)
  {
    Error_Handler();
  }
  sConfigOC.OCMode = TIM_OCMODE_PWM1;
  sConfigOC.Pulse = 0;
  sConfigOC.OCPolarity = TIM_OCPOLARITY_HIGH;
  sConfigOC.OCNPolarity = TIM_OCNPOLARITY_HIGH;
  sConfigOC.OCFastMode = TIM_OCFAST_DISABLE;
  sConfigOC.OCIdleState = TIM_OCIDLESTATE_RESET;
  sConfigOC.OCNIdleState = TIM_OCNIDLESTATE_RESET;
  if (HAL_TIM_PWM_ConfigChannel(&htim17, &sConfigOC, TIM_CHANNEL_1) != HAL_OK)
  {
    Error_Handler();
  }
  sBreakDeadTimeConfig.OffStateRunMode = TIM_OSSR_DISABLE;
  sBreakDeadTimeConfig.OffStateIDLEMode = TIM_OSSI_DISABLE;
  sBreakDeadTimeConfig.LockLevel = TIM_LOCKLEVEL_OFF;
  sBreakDeadTimeConfig.DeadTime = 0;
  sBreakDeadTimeConfig.BreakState = TIM_BREAK_DISABLE;
  sBreakDeadTimeConfig.BreakPolarity = TIM_BREAKPOLARITY_HIGH;
  sBreakDeadTimeConfig.BreakFilter = 0;
  sBreakDeadTimeConfig.AutomaticOutput = TIM_AUTOMATICOUTPUT_DISABLE;
  if (HAL_TIMEx_ConfigBreakDeadTime(&htim17, &sBreakDeadTimeConfig) != HAL_OK)
  {
    Error_Handler();
  }
  HAL_TIM_MspPostInit(&htim17);

}

static void MX_DMA_Init(void)
{

  /* DMA controller clock enable */
  __HAL_RCC_DMAMUX1_CLK_ENABLE();
  __HAL_RCC_DMA1_CLK_ENABLE();

  /* DMA interrupt init */
  /* DMA1_Channel1_IRQn interrupt configuration */
  HAL_NVIC_SetPriority(DMA1_Channel1_IRQn, 0, 0);
  HAL_NVIC_EnableIRQ(DMA1_Channel1_IRQn);

}

static void MX_GPIO_Init(void)
{
  GPIO_InitTypeDef GPIO_InitStruct = {0};

  /* GPIO Ports Clock Enable */
  __HAL_RCC_GPIOF_CLK_ENABLE();
  __HAL_RCC_GPIOA_CLK_ENABLE();
  __HAL_RCC_GPIOB_CLK_ENABLE();

  /*Configure GPIO pin Output Level */
  HAL_GPIO_WritePin(GPIOF, GREEN_DBG_LED_1_Pin|GREEN_DBG_LED_2_Pin, GPIO_PIN_RESET);

  /*Configure GPIO pin Output Level */
  HAL_GPIO_WritePin(RED_DBG_LED_1_GPIO_Port, RED_DBG_LED_1_Pin, GPIO_PIN_RESET);

  /*Configure GPIO pin Output Level */
  HAL_GPIO_WritePin(GPIOB, MOT_SLEEP_Pin|MOT_OFF_Pin, GPIO_PIN_RESET);

  /*Configure GPIO pins : GREEN_DBG_LED_1_Pin GREEN_DBG_LED_2_Pin */
  GPIO_InitStruct.Pin = GREEN_DBG_LED_1_Pin|GREEN_DBG_LED_2_Pin;
  GPIO_InitStruct.Mode = GPIO_MODE_OUTPUT_PP;
  GPIO_InitStruct.Pull = GPIO_NOPULL;
  GPIO_InitStruct.Speed = GPIO_SPEED_FREQ_LOW;
  HAL_GPIO_Init(GPIOF, &GPIO_InitStruct);

  /*Configure GPIO pin : RED_DBG_LED_1_Pin */
  GPIO_InitStruct.Pin = RED_DBG_LED_1_Pin;
  GPIO_InitStruct.Mode = GPIO_MODE_OUTPUT_PP;
  GPIO_InitStruct.Pull = GPIO_NOPULL;
  GPIO_InitStruct.Speed = GPIO_SPEED_FREQ_LOW;
  HAL_GPIO_Init(RED_DBG_LED_1_GPIO_Port, &GPIO_InitStruct);

  /*Configure GPIO pin : BALL_FINDER_Pin */
  GPIO_InitStruct.Pin = BALL_FINDER_Pin;
  GPIO_InitStruct.Mode = GPIO_MODE_IT_RISING;
  GPIO_InitStruct.Pull = GPIO_NOPULL;
  HAL_GPIO_Init(BALL_FINDER_GPIO_Port, &GPIO_InitStruct);

  /*Configure GPIO pins : MOT_SLEEP_Pin MOT_OFF_Pin */
  GPIO_InitStruct.Pin = MOT_SLEEP_Pin|MOT_OFF_Pin;
  GPIO_InitStruct.Mode = GPIO_MODE_OUTPUT_PP;
  GPIO_InitStruct.Pull = GPIO_NOPULL;
  GPIO_InitStruct.Speed = GPIO_SPEED_FREQ_LOW;
  HAL_GPIO_Init(GPIOB, &GPIO_InitStruct);

  /* EXTI interrupt init*/
  HAL_NVIC_SetPriority(EXTI9_5_IRQn, 0, 0);
  HAL_NVIC_EnableIRQ(EXTI9_5_IRQn);

}

void Error_Handler(void)
{
  __disable_irq();
  while (1)
  {
  }
}
